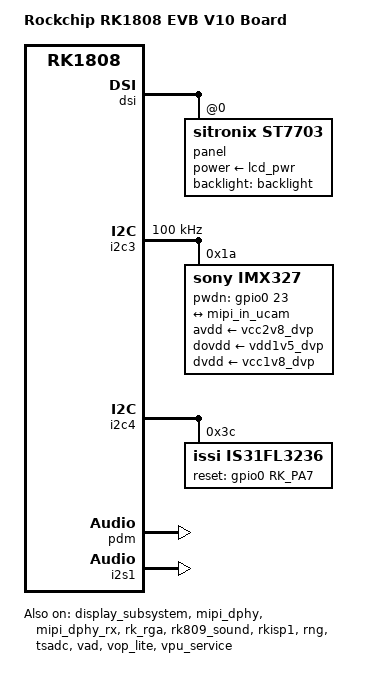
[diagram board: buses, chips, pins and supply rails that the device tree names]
// SPDX-License-Identifier: (GPL-2.0+ OR MIT)
/*
 * Copyright (c) 2018 Fuzhou Rockchip Electronics Co., Ltd
 */

/dts-v1/;
#include <dt-bindings/display/drm_mipi_dsi.h>
#include "rk1808-evb.dtsi"

/ {
	model = "Rockchip RK1808 EVB V10 Board";
	compatible = "rockchip,rk1808-evb-v10", "rockchip,rk1808";

	chosen {
		bootargs = "earlycon=uart8250,mmio32,0xff550000 console=ttyFIQ0 root=PARTUUID=614e0000-0000 rootfstype=ext4 rootwait swiotlb=1 kpti=0 snd_aloop.index=7";
	};

	vad-sound {
		status = "okay";
		compatible = "rockchip,multicodecs-card";
		rockchip,card-name = "rockchip,rk1808-vad";
		rockchip,cpu = <&pdm>;
		rockchip,codec = <&vad>;
	};
};

&adc_key {
	vol-down-key {
		linux,code = <KEY_VOLUMEDOWN>;
		label = "volume down";
		press-threshold-microvolt = <300000>;
	};

	vol-up-key {
		linux,code = <KEY_VOLUMEUP>;
		label = "volume up";
		press-threshold-microvolt = <18000>;
	};
};

&display_subsystem {
	status = "okay";
};

&dsi {
	status = "okay";

	panel@0 {
		compatible = "sitronix,st7703", "simple-panel-dsi";
		reg = <0>;
		backlight = <&backlight>;
		power-supply = <&lcd_pwr>;
		prepare-delay-ms = <2>;
		reset-delay-ms = <1>;
		init-delay-ms = <20>;
		enable-delay-ms = <120>;
		disable-delay-ms = <50>;
		unprepare-delay-ms = <20>;

		width-mm = <68>;
		height-mm = <121>;

		dsi,flags = <(MIPI_DSI_MODE_VIDEO | MIPI_DSI_MODE_VIDEO_BURST |
			      MIPI_DSI_MODE_LPM | MIPI_DSI_MODE_EOT_PACKET)>;
		dsi,format = <MIPI_DSI_FMT_RGB888>;
		dsi,lanes = <4>;

		panel-init-sequence = [
			05 fa 01 11
			39 00 04 b9 f1 12 83
			39 00 1c ba 33 81 05 f9 0e 0e 00 00 00
				 00 00 00 00 00 44 25 00 91 0a
				 00 00 02 4f 01 00 00 37
			15 00 02 b8 25
			39 00 04 bf 02 11 00
			39 00 0b b3 0c 10 0a 50 03 ff 00 00 00
				 00
			39 00 0a c0 73 73 50 50 00 00 08 70 00
			15 00 02 bc 46
			15 00 02 cc 0b
			15 00 02 b4 80
			39 00 04 b2 c8 12 30
			39 00 0f e3 07 07 0b 0b 03 0b 00 00 00
				 00 ff 00 c0 10
			39 00 0d c1 53 00 1e 1e 77 e1 cc dd 67
				 77 33 33
			39 00 07 c6 00 00 ff ff 01 ff
			39 00 03 b5 09 09
			39 00 03 b6 87 95
			39 00 40 e9 c2 10 05 05 10 05 a0 12 31
				 23 3f 81 0a a0 37 18 00 80 01
				 00 00 00 00 80 01 00 00 00 48
				 f8 86 42 08 88 88 80 88 88 88
				 58 f8 87 53 18 88 88 81 88 88
				 88 00 00 00 01 00 00 00 00 00
				 00 00 00 00
			39 00 3e ea 00 1a 00 00 00 00 02 00 00
				 00 00 00 1f 88 81 35 78 88 88
				 85 88 88 88 0f 88 80 24 68 88
				 88 84 88 88 88 23 10 00 00 1c
				 00 00 00 00 00 00 00 00 00 00
				 00 00 00 00 00 30 05 a0 00 00
				 00 00
			39 00 23 e0 00 06 08 2a 31 3f 38 36 07
				 0c 0d 11 13 12 13 11 18 00 06
				 08 2a 31 3f 38 36 07 0c 0d 11
				 13 12 13 11 18
			05 32 01 29
		];

		panel-exit-sequence = [
			05 00 01 28
			05 00 01 10
		];

		display-timings {
			native-mode = <&timing0>;

			timing0: timing0 {
				clock-frequency = <64000000>;
				hactive = <720>;
				vactive = <1280>;
				hfront-porch = <40>;
				hsync-len = <10>;
				hback-porch = <40>;
				vfront-porch = <22>;
				vsync-len = <4>;
				vback-porch = <11>;
				hsync-active = <0>;
				vsync-active = <0>;
				de-active = <0>;
				pixelclk-active = <0>;
			};
		};
	};
};

&i2c3 {
	status = "okay";

	clock-frequency = <100000>;

	imx327: imx327@1a {
		compatible = "sony,imx327";
		reg = <0x1a>;
		clocks = <&cru SCLK_CIF_OUT>;
		clock-names = "xvclk";
		avdd-supply = <&vcc2v8_dvp>;
		dovdd-supply = <&vdd1v5_dvp>;
		dvdd-supply = <&vcc1v8_dvp>;
		pwdn-gpios = <&gpio0 23 GPIO_ACTIVE_HIGH>;
		pinctrl-names = "default";
		pinctrl-0 = <&cif_clkout_m0>;
		rockchip,camera-module-index = <0>;
		rockchip,camera-module-facing = "back";
		rockchip,camera-module-name = "TongJu";
		rockchip,camera-module-lens-name = "CHT842-MD";
		port {
			ucam_out: endpoint {
				remote-endpoint = <&mipi_in_ucam>;
				data-lanes = <1 2>;
			};
		};
	};
};

&i2c4 {
	is31fl3236: led-controller@3c {
		compatible = "issi,is31fl3236";
		reg = <0x3c>;
		#address-cells = <1>;
		#size-cells = <0>;
		reset-gpios = <&gpio0 RK_PA7 GPIO_ACTIVE_HIGH>;
		status = "okay";

		led1: led@1 {
			label = "led1";
			reg = <1>;
			led-max-microamp = <10000>;
			linux,default-trigger = "timer";
			linux,default-trigger-delay-ms = <0>;
			linux,blink-delay-on-ms = <100>;
			linux,blink-delay-off-ms = <1200>;
		};

		led2: led@2 {
			label = "led2";
			reg = <2>;
			led-max-microamp = <10000>;
			linux,default-trigger = "timer";
			linux,default-trigger-delay-ms = <0>;
			linux,blink-delay-on-ms = <100>;
			linux,blink-delay-off-ms = <1200>;
		};

		led3: led@3 {
			label = "led3";
			reg = <3>;
			led-max-microamp = <10000>;
			linux,default-trigger = "default-on";
		};

		led4: led@4 {
			label = "led4";
			reg = <4>;
			led-max-microamp = <10000>;
			linux,default-trigger = "timer";
			linux,default-trigger-delay-ms = <100>;
			linux,blink-delay-on-ms = <100>;
			linux,blink-delay-off-ms = <1200>;
		};

		led5: led@5 {
			label = "led5";
			reg = <5>;
			led-max-microamp = <10000>;
			linux,default-trigger = "timer";
			linux,default-trigger-delay-ms = <100>;
			linux,blink-delay-on-ms = <100>;
			linux,blink-delay-off-ms = <1200>;
		};

		led6: led@6 {
			label = "led6";
			reg = <6>;
			led-max-microamp = <10000>;
			linux,default-trigger = "default-on";
		};

		led7: led@7 {
			label = "led7";
			reg = <7>;
			led-max-microamp = <10000>;
			linux,default-trigger = "timer";
			linux,default-trigger-delay-ms = <200>;
			linux,blink-delay-on-ms = <100>;
			linux,blink-delay-off-ms = <1200>;
		};

		led8: led@8 {
			label = "led8";
			reg = <8>;
			led-max-microamp = <10000>;
			linux,default-trigger = "timer";
			linux,default-trigger-delay-ms = <200>;
			linux,blink-delay-on-ms = <100>;
			linux,blink-delay-off-ms = <1200>;
		};

		led9: led@9 {
			label = "led9";
			reg = <9>;
			led-max-microamp = <10000>;
			linux,default-trigger = "default-on";
		};

		led10: led@10 {
			label = "led10";
			reg = <10>;
			led-max-microamp = <10000>;
			linux,default-trigger = "timer";
			linux,default-trigger-delay-ms = <300>;
			linux,blink-delay-on-ms = <100>;
			linux,blink-delay-off-ms = <1200>;
		};

		led11: led@11 {
			label = "led11";
			reg = <11>;
			led-max-microamp = <10000>;
			linux,default-trigger = "timer";
			linux,default-trigger-delay-ms = <300>;
			linux,blink-delay-on-ms = <100>;
			linux,blink-delay-off-ms = <1200>;
		};

		led12: led@12 {
			label = "led12";
			reg = <12>;
			led-max-microamp = <10000>;
			linux,default-trigger = "default-on";
		};

		led13: led@13 {
			label = "led13";
			reg = <13>;
			led-max-microamp = <10000>;
			linux,default-trigger = "timer";
			linux,default-trigger-delay-ms = <400>;
			linux,blink-delay-on-ms = <100>;
			linux,blink-delay-off-ms = <1200>;
		};

		led14: led@14 {
			label = "led14";
			reg = <14>;
			led-max-microamp = <10000>;
			linux,default-trigger = "timer";
			linux,default-trigger-delay-ms = <400>;
			linux,blink-delay-on-ms = <100>;
			linux,blink-delay-off-ms = <1200>;
		};

		led15: led@15 {
			label = "led15";
			reg = <15>;
			led-max-microamp = <10000>;
			linux,default-trigger = "default-on";
		};

		led16: led@16 {
			label = "led16";
			reg = <16>;
			led-max-microamp = <10000>;
			linux,default-trigger = "timer";
			linux,default-trigger-delay-ms = <500>;
			linux,blink-delay-on-ms = <100>;
			linux,blink-delay-off-ms = <1200>;
		};

		led17: led@17 {
			label = "led17";
			reg = <17>;
			led-max-microamp = <10000>;
			linux,default-trigger = "timer";
			linux,default-trigger-delay-ms = <500>;
			linux,blink-delay-on-ms = <100>;
			linux,blink-delay-off-ms = <1200>;
		};

		led18: led@18 {
			label = "led18";
			reg = <18>;
			led-max-microamp = <10000>;
			linux,default-trigger = "default-on";
		};

		led19: led@19 {
			label = "led19";
			reg = <19>;
			led-max-microamp = <10000>;
			linux,default-trigger = "timer";
			linux,default-trigger-delay-ms = <600>;
			linux,blink-delay-on-ms = <100>;
			linux,blink-delay-off-ms = <1200>;
		};

		led20: led@20 {
			label = "led20";
			reg = <20>;
			led-max-microamp = <10000>;
			linux,default-trigger = "timer";
			linux,default-trigger-delay-ms = <600>;
			linux,blink-delay-on-ms = <100>;
			linux,blink-delay-off-ms = <1200>;
		};

		led21: led@21 {
			label = "led21";
			reg = <21>;
			led-max-microamp = <10000>;
			linux,default-trigger = "default-on";
		};

		led22: led@22 {
			label = "led22";
			reg = <22>;
			led-max-microamp = <10000>;
			linux,default-trigger = "timer";
			linux,default-trigger-delay-ms = <700>;
			linux,blink-delay-on-ms = <100>;
			linux,blink-delay-off-ms = <1200>;
		};

		led23: led@23 {
			label = "led23";
			reg = <23>;
			led-max-microamp = <10000>;
			linux,default-trigger = "timer";
			linux,default-trigger-delay-ms = <700>;
			linux,blink-delay-on-ms = <100>;
			linux,blink-delay-off-ms = <1200>;
		};

		led124: led@24 {
			label = "led24";
			reg = <24>;
			led-max-microamp = <10000>;
			linux,default-trigger = "default-on";
		};

		led25: led@25 {
			label = "led25";
			reg = <25>;
			led-max-microamp = <10000>;
			linux,default-trigger = "timer";
			linux,default-trigger-delay-ms = <800>;
			linux,blink-delay-on-ms = <100>;
			linux,blink-delay-off-ms = <1200>;
		};

		led26: led@26 {
			label = "led26";
			reg = <26>;
			led-max-microamp = <10000>;
			linux,default-trigger = "timer";
			linux,default-trigger-delay-ms = <800>;
			linux,blink-delay-on-ms = <100>;
			linux,blink-delay-off-ms = <1200>;
		};

		led27: led@27 {
			label = "led27";
			reg = <27>;
			led-max-microamp = <10000>;
			linux,default-trigger = "default-on";
		};

		led28: led@28 {
			label = "led28";
			reg = <28>;
			led-max-microamp = <10000>;
			linux,default-trigger = "timer";
			linux,default-trigger-delay-ms = <900>;
			linux,blink-delay-on-ms = <100>;
			linux,blink-delay-off-ms = <1200>;
		};

		led29: led@29 {
			label = "led29";
			reg = <29>;
			led-max-microamp = <10000>;
			linux,default-trigger = "timer";
			linux,default-trigger-delay-ms = <900>;
			linux,blink-delay-on-ms = <100>;
			linux,blink-delay-off-ms = <1200>;
		};

		led30: led@30 {
			label = "led30";
			reg = <30>;
			led-max-microamp = <10000>;
			linux,default-trigger = "default-on";
		};

		led31: led@31 {
			label = "led31";
			reg = <31>;
			led-max-microamp = <10000>;
			linux,default-trigger = "timer";
			linux,default-trigger-delay-ms = <1000>;
			linux,blink-delay-on-ms = <100>;
			linux,blink-delay-off-ms = <1200>;
		};

		led32: led@32 {
			label = "led32";
			reg = <32>;
			led-max-microamp = <10000>;
			linux,default-trigger = "timer";
			linux,default-trigger-delay-ms = <1000>;
			linux,blink-delay-on-ms = <100>;
			linux,blink-delay-off-ms = <1200>;
		};

		led33: led@33 {
			label = "led33";
			reg = <33>;
			led-max-microamp = <10000>;
			linux,default-trigger = "default-on";
		};

		led34: led@34 {
			label = "led34";
			reg = <34>;
			led-max-microamp = <10000>;
			linux,default-trigger = "timer";
			linux,default-trigger-delay-ms = <1100>;
			linux,blink-delay-on-ms = <100>;
			linux,blink-delay-off-ms = <1200>;
		};

		led35: led@35 {
			label = "led35";
			reg = <35>;
			led-max-microamp = <10000>;
			linux,default-trigger = "timer";
			linux,default-trigger-delay-ms = <1100>;
			linux,blink-delay-on-ms = <100>;
			linux,blink-delay-off-ms = <1200>;
		};

		led36: led@36 {
			label = "led36";
			reg = <36>;
			led-max-microamp = <10000>;
			linux,default-trigger = "default-on";
		};
	};
};

&pdm {
	status = "okay";
	#sound-dai-cells = <0>;
};

&i2s1 {
	status = "okay";
	#sound-dai-cells = <0>;
};

&isp_mmu {
	status = "okay";
};

&mipi_dphy {
	status = "okay";
};

&mipi_dphy_rx {
	status = "okay";

	ports {
		#address-cells = <1>;
		#size-cells = <0>;

		port@0 {
			reg = <0>;
			#address-cells = <1>;
			#size-cells = <0>;

			mipi_in_ucam: endpoint@1 {
				reg = <1>;
				remote-endpoint = <&ucam_out>;
				data-lanes = <1 2>;
			};
		};

		port@1 {
			reg = <1>;
			#address-cells = <1>;
			#size-cells = <0>;

			dphy_rx0_out: endpoint@0 {
				reg = <0>;
				remote-endpoint = <&isp0_mipi_in>;
			};
		};
	};
};

&rk_rga {
	status =  "okay";
};

&rk809_sound {
	status = "okay";
};

&rkisp1 {
	status = "okay";

	port {
		#address-cells = <1>;
		#size-cells = <0>;

		isp0_mipi_in: endpoint@0 {
			reg = <0>;
			remote-endpoint = <&dphy_rx0_out>;
		};
	};
};

&rng {
	status = "okay";
};

&rockchip_suspend {
	status = "okay";
	rockchip,sleep-debug-en = <1>;
};

&route_dsi {
	status = "disabled";
};

&tsadc {
	rockchip,hw-tshut-mode = <1>; /* tshut mode 0:CRU 1:GPIO */
	rockchip,hw-tshut-polarity = <0>; /* tshut polarity 0:LOW 1:HIGH */
	pinctrl-names = "gpio", "otpout";
	pinctrl-0 = <&tsadc_otp_gpio>;
	pinctrl-1 = <&tsadc_otp_out>;
	status = "okay";
};

&vad {
	status = "okay";
	rockchip,audio-src = <&pdm>;
	rockchip,buffer-time-ms = <200>;
	rockchip,det-channel = <0>;
	rockchip,mode = <1>;
	#sound-dai-cells = <0>;
};

&vop_lite {
	status = "okay";
};

&vopl_mmu {
	status = "okay";
};

&vpu_mmu {
	status = "okay";
};

&vpu_service {
	status = "okay";
};
